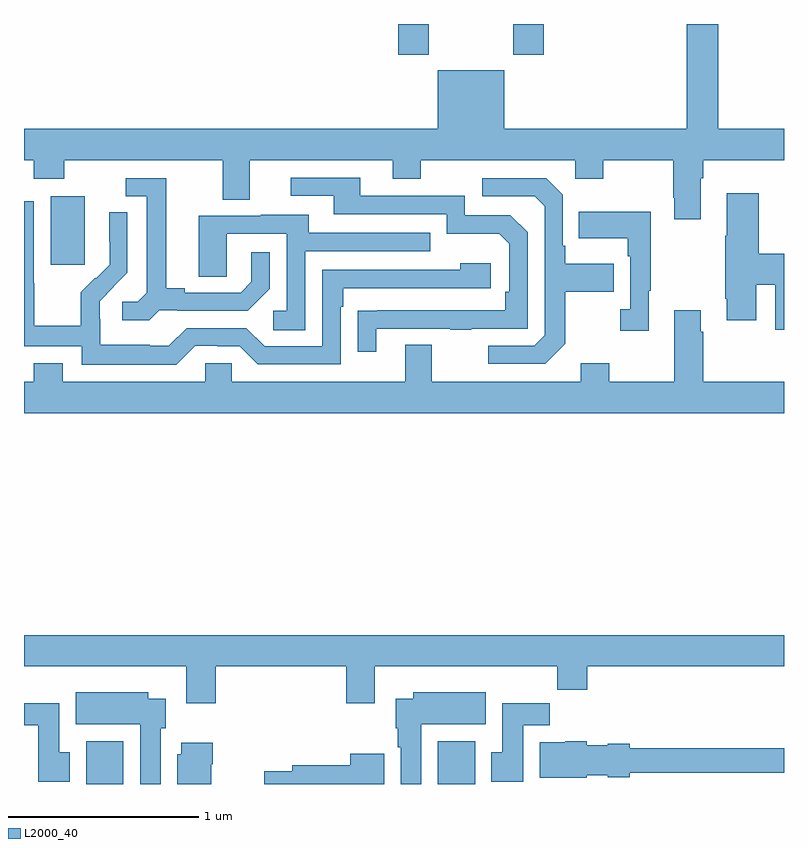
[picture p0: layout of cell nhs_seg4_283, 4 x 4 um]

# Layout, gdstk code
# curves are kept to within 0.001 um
import gdstk
lib = gdstk.Library(unit=1e-6, precision=1e-09)
def R(c, l, rs):  # rectangles x0, y0, x1, y1
    for r in rs: c.add(gdstk.rectangle(r[:2], r[2:], *l))
def P(c, l, *ps):  # polygons
    for p in ps: c.add(gdstk.Polygon(p, *l))
L2000_40 = (2000, 40)

nhs_seg4_283 = lib.new_cell('nhs_seg4_283')
R(nhs_seg4_283, L2000_40, [(125.327,762.9,125.523,763.126), (127.178,762.9,127.375,763.126), (125.141,765.633,125.32,765.994), (126.971,766.737,127.131,766.9), (127.576,766.737,127.736,766.9)])
P(nhs_seg4_283, L2000_40, [(127.528,766.657),(127.178,766.657),(127.178,766.348),(125,766.348),(125,766.184),(125.051,766.184),(125.051,766.085),(125.211,766.085),(125.211,766.184),(126.047,766.184),(126.047,765.976),(126.187,765.976),(126.187,766.184),(126.941,766.184),(126.941,766.085),(127.089,766.085),(127.089,766.184),(127.902,766.184),(127.902,766.085),(128.049,766.085),(128.049,766.184),(128.416,766.184),(128.416,765.985),(128.423,765.985),(128.423,765.873),(128.563,765.873),(128.563,766.088),(128.576,766.088),(128.576,766.184),(129,766.184),(129,766.348),(128.653,766.348),(128.653,766.9),(128.489,766.9),(128.489,766.348),(127.528,766.348)],
  [(126.853,765.297),(127.243,765.297),(127.243,765.292),(127.355,765.292),(127.355,765.297),(127.65,765.297),(127.65,765.804),(127.56,765.894),(127.32,765.894),(127.32,765.996),(126.769,765.996),(126.769,766.092),(126.405,766.092),(126.405,765.996),(126.629,765.996),(126.629,765.9),(127.224,765.9),(127.224,765.797),(127.501,765.797),(127.554,765.744),(127.554,765.49),(127.534,765.49),(127.534,765.393),(126.757,765.392),(126.757,765.174),(126.853,765.174)],
  [(125.712,765.393),(125.806,765.393),(125.806,765.39),(126.178,765.39),(126.294,765.506),(126.294,765.7),(126.197,765.7),(126.197,765.543),(126.14,765.486),(125.845,765.486),(125.845,765.509),(125.749,765.509),(125.749,766.089),(125.535,766.089),(125.535,765.993),(125.645,765.993),(125.645,765.485),(125.598,765.438),(125.517,765.438),(125.517,765.341),(125.66,765.341)],
  [(127.849,765.217),(127.849,765.49),(128.105,765.49),(128.105,765.637),(127.849,765.637),(127.849,765.733),(127.836,765.733),(127.836,766.002),(127.749,766.089),(127.413,766.089),(127.413,765.993),(127.689,765.993),(127.74,765.942),(127.74,765.261),(127.686,765.207),(127.443,765.207),(127.443,765.111),(127.743,765.111)],
  [(129,765.692),(128.867,765.692),(128.867,766.009),(128.699,766.009),(128.699,765.785),(128.692,765.785),(128.692,765.454),(128.699,765.454),(128.699,765.342),(128.854,765.342),(128.854,765.527),(128.954,765.527),(128.954,765.291),(129,765.291)],
  [(125.901,765.207),(126.017,765.207),(126.017,765.204),(126.135,765.204),(126.231,765.108),(126.666,765.108),(126.666,765.413),(126.679,765.413),(126.679,765.51),(127.456,765.51),(127.456,765.64),(127.295,765.64),(127.295,765.606),(126.57,765.606),(126.57,765.204),(126.267,765.204),(126.171,765.3),(125.856,765.3),(125.763,765.207),(125.663,765.207),(125.663,765.211),(125.4,765.211),(125.4,765.345),(125.398,765.345),(125.398,765.442),(125.544,765.59),(125.544,765.908),(125.448,765.908),(125.448,765.754),(125.45,765.754),(125.45,765.632),(125.379,765.561),(125.376,765.564),(125.299,765.487),(125.299,765.313),(125.055,765.313),(125.055,765.536),(125.052,765.536),(125.052,765.966),(125,765.966),(125,765.204),(125.304,765.204),(125.304,765.107),(125.801,765.107)],
  [(128.287,765.497),(128.299,765.497),(128.299,765.913),(127.921,765.913),(127.921,765.773),(128.178,765.773),(128.178,765.677),(128.19,765.677),(128.19,765.398),(128.139,765.398),(128.139,765.285),(128.287,765.285)],
  [(126.48,765.705),(127.139,765.705),(127.139,765.801),(126.499,765.801),(126.499,765.895),(126.245,765.895),(126.245,765.891),(125.921,765.891),(125.921,765.571),(126.066,765.571),(126.066,765.795),(126.384,765.795),(126.384,765.39),(126.312,765.39),(126.312,765.289),(126.48,765.289)],
  [(129,765.016),(128.576,765.016),(128.576,765.281),(128.563,765.281),(128.563,765.394),(128.423,765.394),(128.423,765.016),(128.079,765.016),(128.079,765.115),(127.931,765.115),(127.931,765.016),(127.147,765.016),(127.147,765.211),(127.007,765.211),(127.007,765.016),(126.093,765.016),(126.093,765.114),(125.955,765.114),(125.955,765.016),(125.203,765.016),(125.203,765.115),(125.051,765.115),(125.051,765.016),(125,765.016),(125,764.852),(129,764.852)],
  [(126.008,763.52),(126.695,763.52),(126.695,763.326),(126.847,763.326),(126.847,763.52),(127.807,763.52),(127.807,763.396),(127.964,763.396),(127.964,763.52),(129,763.52),(129,763.684),(125,763.684),(125,763.52),(125.855,763.52),(125.855,763.326),(126.008,763.326)],
  [(127.09,763.214),(127.429,763.214),(127.429,763.384),(127.049,763.384),(127.049,763.348),(126.956,763.348),(126.956,763.194),(126.968,763.194),(126.968,763.094),(126.983,763.094),(126.983,762.9),(127.09,762.9)],
  [(125.719,763.194),(125.746,763.194),(125.746,763.348),(125.653,763.348),(125.653,763.384),(125.273,763.384),(125.273,763.214),(125.612,763.214),(125.612,762.9),(125.719,762.9)],
  [(125.242,763.068),(125.185,763.068),(125.185,763.326),(125,763.326),(125,763.208),(125.075,763.208),(125.075,762.912),(125.242,762.912)],
  [(127.627,763.208),(127.766,763.208),(127.766,763.326),(127.517,763.326),(127.517,763.068),(127.46,763.068),(127.46,762.912),(127.627,762.912)],
  [(127.962,762.947),(128.073,762.947),(128.073,762.935),(128.188,762.935),(128.188,762.958),(129,762.958),(129,763.087),(128.188,763.087),(128.188,763.113),(128.073,763.113),(128.073,763.105),(127.962,763.105),(127.962,763.126),(127.848,763.126),(127.848,763.12),(127.715,763.12),(127.715,762.932),(127.962,762.932)],
  [(125.986,763.004),(125.994,763.004),(125.994,763.117),(125.828,763.117),(125.828,763.056),(125.807,763.056),(125.807,762.9),(125.986,762.9)],
  [(126.895,763.06),(126.716,763.06),(126.716,762.998),(126.413,762.998),(126.413,762.968),(126.264,762.968),(126.264,762.9),(126.895,762.9)])

lib.write_gds('nhs_seg4_283.gds')
